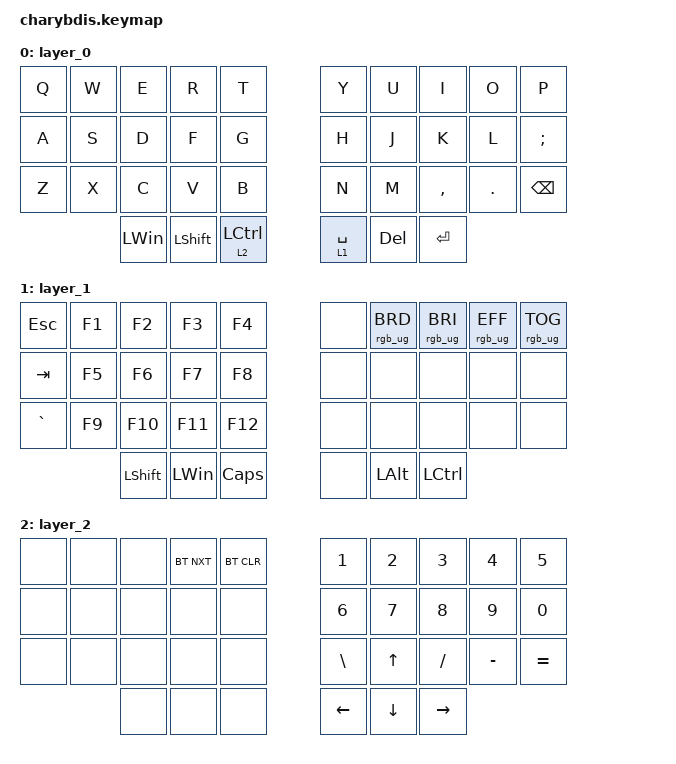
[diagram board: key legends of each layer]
#include <behaviors.dtsi>
#include <dt-bindings/zmk/bt.h>
#include <dt-bindings/zmk/keys.h>
#include <dt-bindings/zmk/pointing.h>
#include <dt-bindings/zmk/rgb.h>

&lt {
    tapping-term-ms = <190>;
    flavor = "balanced";
    quick-tap-ms = <150>;
};

/ {
    keymap {
        compatible = "zmk,keymap";

        layer_0 {
            bindings = <
&kp Q  &kp W  &kp E         &kp R           &kp T          &kp Y        &kp U       &kp I      &kp O    &kp P
&kp A  &kp S  &kp D         &kp F           &kp G          &kp H        &kp J       &kp K      &kp L    &kp SEMI
&kp Z  &kp X  &kp C         &kp V           &kp B          &kp N        &kp M       &kp COMMA  &kp DOT  &kp BACKSPACE
              &kp LEFT_WIN  &kp LEFT_SHIFT  &lt 2 LCTRL    &lt 1 SPACE  &kp DELETE  &kp ENTER
            >;
        };

        layer_1 {
            bindings = <
&kp ESC    &kp F1  &kp F2          &kp F3    &kp F4      &none  &rgb_ug RGB_BRD  &rgb_ug RGB_BRI  &rgb_ug RGB_EFF  &rgb_ug RGB_TOG
&kp TAB    &kp F5  &kp F6          &kp F7    &kp F8      &none  &none            &none            &none            &none
&kp GRAVE  &kp F9  &kp F10         &kp F11   &kp F12     &none  &none            &none            &none            &none
                   &kp LEFT_SHIFT  &kp LWIN  &kp CAPS    &none  &kp LEFT_ALT     &kp LCTRL
            >;
        };

        layer_2 {
            bindings = <
&none  &none  &none  &bt BT_NXT  &bt BT_CLR    &kp N1    &kp N2        &kp N3     &kp N4     &kp N5
&none  &none  &none  &none       &none         &kp N6    &kp N7        &kp N8     &kp N9     &kp N0
&none  &none  &none  &none       &none         &kp BSLH  &kp UP_ARROW  &kp FSLH   &kp MINUS  &kp EQUAL
              &none  &none       &none         &kp LEFT  &kp DOWN      &kp RIGHT
            >;
        };
    };
};
